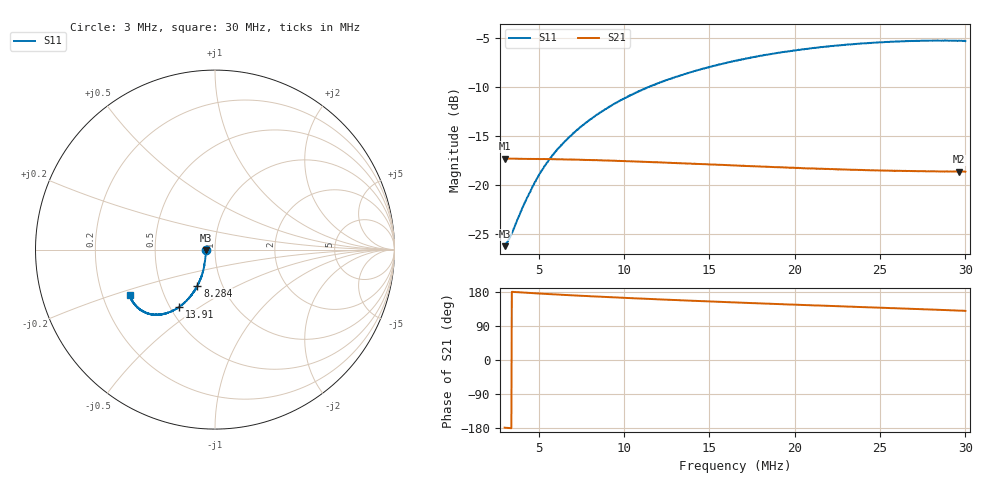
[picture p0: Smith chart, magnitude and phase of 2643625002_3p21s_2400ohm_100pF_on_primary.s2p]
# HZ S RI R 50
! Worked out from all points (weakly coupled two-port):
!   1023 points, 3 MHz to 30 MHz, reference 50 ohm
!   highest |S21| = -17.31 dB at 3.026 MHz (marker M1); lowest = -18.6 dB at 29.63 MHz (marker M2)
!   lowest |S11| = -26.2 dB at 3 MHz (marker M3), VSWR 1.10, Z = 45.4 - j0.248 ohm
!   |S11| at or under -10 dB: start of sweep to 11.48 MHz
!   S12 and S22 are empty: the file has one direction only
!   S11 on the Smith chart (normalised r, x): 3 MHz: 0.91, -0.00; 8.284 MHz: 0.76, -0.32; 13.91 MHz: 0.56, -0.41; 30 MHz: 0.32, -0.23
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3000000  -0.0487 -0.00273  -0.136 -0.00354  0 0  0 0
3026419  -0.0494 -0.00415  -0.1363 -0.003  0 0  0 0
3184933  -0.0499 -0.0127  -0.1359 -0.0019  0 0  0 0
3369866  -0.051 -0.022  -0.136 -0.000407  0 0  0 0
4056760  -0.0546 -0.0541  -0.1356 0.00478  0 0  0 0
4664397  -0.0582 -0.0804  -0.1352 0.00873  0 0  0 0
5219196  -0.062 -0.1026  -0.1349 0.0117  0 0  0 0
5694738  -0.0668 -0.1203  -0.1346 0.0148  0 0  0 0
6196699  -0.0716 -0.138  -0.134 0.0175  0 0  0 0
7517649  -0.0882 -0.1792  -0.1321 0.0248  0 0  0 0
8283800  -0.0976 -0.201  -0.1307 0.0286  0 0  0 0
9842521  -0.1231 -0.2414  -0.1276 0.0357  0 0  0 0
1.200888e7  -0.1615 -0.2879  -0.1226 0.0443  0 0  0 0
1.391105e7  -0.1983 -0.3186  -0.1179 0.0513  0 0  0 0
1.650011e7  -0.2502 -0.3471  -0.1109 0.0589  0 0  0 0
1.911559e7  -0.3019 -0.3614  -0.1038 0.0662  0 0  0 0
2.101776e7  -0.3403 -0.363  -0.0987 0.071  0 0  0 0
2.344831e7  -0.3837 -0.3527  -0.092 0.0762  0 0  0 0
2.550899e7  -0.4165 -0.3332  -0.0869 0.0803  0 0  0 0
2.756967e7  -0.4485 -0.3046  -0.0813 0.0848  0 0  0 0
2.963035e7  -0.4736 -0.2639  -0.0756 0.0891  0 0  0 0
3.000022e7  -0.4758 -0.2547  -0.0746 0.0899  0 0  0 0
